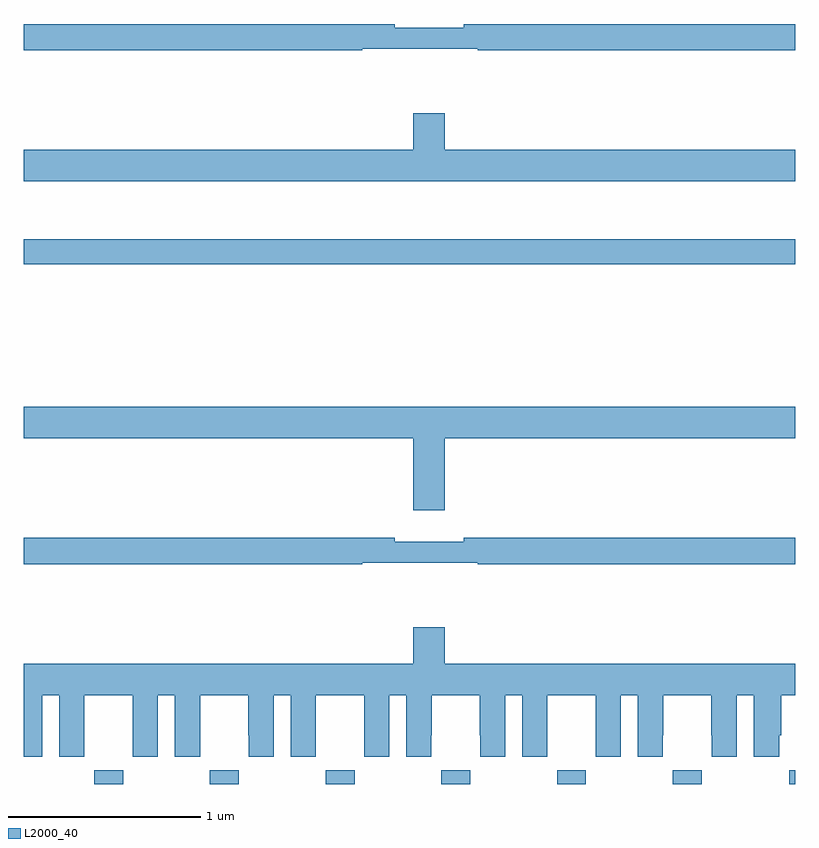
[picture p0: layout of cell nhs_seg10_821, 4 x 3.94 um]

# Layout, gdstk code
import gdstk
lib = gdstk.Library(unit=1e-6, precision=1e-09)
def R(c, l, rs):  # rectangles x0, y0, x1, y1
    for r in rs: c.add(gdstk.rectangle(r[:2], r[2:], *l))
def A(c, l, x, y, w, h, nx, ny, dx, dy):  # array of equal rectangles
    R(c, l, [(x+i*dx, y+j*dy, x+i*dx+w, y+j*dy+h) for i in range(nx) for j in range(ny)])
def P(c, l, *ps):  # polygons
    for p in ps: c.add(gdstk.Polygon(p, *l))
L2000_40 = (2000, 40)

nhs_seg10_821 = lib.new_cell('nhs_seg10_821')
A(nhs_seg10_821, L2000_40, 151.365, 1322.5, 0.15, 0.072, 6, 1, 0.6, 0)
R(nhs_seg10_821, L2000_40, [(154.969,1322.5,155,1322.572), (151,1325.194,155,1325.323)])
P(nhs_seg10_821, L2000_40, [(152.755,1326.312),(153.355,1326.312),(153.355,1326.304),(155,1326.304),(155,1326.44),(153.28,1326.44),(153.28,1326.421),(152.924,1326.421),(152.924,1326.44),(151,1326.44),(151,1326.304),(152.755,1326.304)],
  [(155,1325.788),(153.184,1325.788),(153.184,1325.977),(153.02,1325.977),(153.02,1325.788),(151,1325.788),(151,1325.624),(155,1325.624)],
  [(153.184,1324.292),(155,1324.292),(155,1324.456),(151,1324.456),(151,1324.292),(153.02,1324.292),(153.02,1323.918),(153.184,1323.918)],
  [(152.755,1323.648),(153.355,1323.648),(153.355,1323.64),(155,1323.64),(155,1323.776),(153.28,1323.776),(153.28,1323.757),(152.924,1323.757),(152.924,1323.776),(151,1323.776),(151,1323.64),(152.755,1323.64)],
  [(153.184,1323.313),(153.02,1323.313),(153.02,1323.124),(151,1323.124),(151,1322.64),(151.096,1322.64),(151.096,1322.96),(151.184,1322.96),(151.184,1322.64),(151.314,1322.64),(151.314,1322.752),(151.315,1322.752),(151.315,1322.96),(151.565,1322.96),(151.565,1322.752),(151.566,1322.752),(151.566,1322.64),(151.696,1322.64),(151.696,1322.96),(151.784,1322.96),(151.784,1322.64),(151.914,1322.64),(151.914,1322.752),(151.915,1322.752),(151.915,1322.96),(152.165,1322.96),(152.165,1322.752),(152.166,1322.752),(152.166,1322.64),(152.296,1322.64),(152.296,1322.96),(152.384,1322.96),(152.384,1322.64),(152.514,1322.64),(152.514,1322.752),(152.515,1322.752),(152.515,1322.96),(152.765,1322.96),(152.765,1322.752),(152.766,1322.752),(152.766,1322.64),(152.896,1322.64),(152.896,1322.96),(152.984,1322.96),(152.984,1322.64),(153.114,1322.64),(153.114,1322.752),(153.115,1322.752),(153.115,1322.96),(153.365,1322.96),(153.365,1322.752),(153.366,1322.752),(153.366,1322.64),(153.496,1322.64),(153.496,1322.96),(153.584,1322.96),(153.584,1322.64),(153.714,1322.64),(153.714,1322.752),(153.715,1322.752),(153.715,1322.96),(153.965,1322.96),(153.965,1322.752),(153.966,1322.752),(153.966,1322.64),(154.096,1322.64),(154.096,1322.96),(154.184,1322.96),(154.184,1322.64),(154.314,1322.64),(154.314,1322.752),(154.315,1322.752),(154.315,1322.96),(154.565,1322.96),(154.565,1322.752),(154.566,1322.752),(154.566,1322.64),(154.696,1322.64),(154.696,1322.96),(154.784,1322.96),(154.784,1322.64),(154.918,1322.64),(154.918,1322.752),(154.928,1322.752),(154.928,1322.96),(155,1322.96),(155,1323.124),(153.184,1323.124)])

lib.write_gds('nhs_seg10_821.gds')
